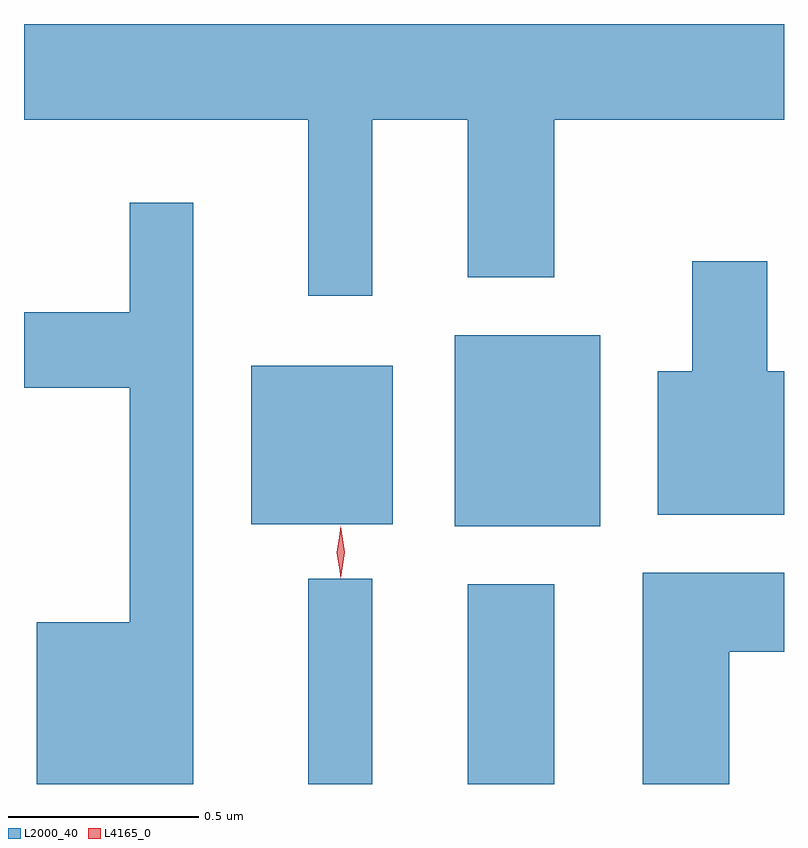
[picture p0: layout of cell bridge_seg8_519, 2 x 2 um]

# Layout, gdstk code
import gdstk
lib = gdstk.Library(unit=1e-6, precision=1e-09)
def R(c, l, rs):  # rectangles x0, y0, x1, y1
    for r in rs: c.add(gdstk.rectangle(r[:2], r[2:], *l))
def P(c, l, *ps):  # polygons
    for p in ps: c.add(gdstk.Polygon(p, *l))
L2000_40 = (2000, 40)
L4165_0 = (4165, 0)

bridge_seg8_519 = lib.new_cell('bridge_seg8_519')
R(bridge_seg8_519, L2000_40, [(322.571,1870.188,322.739,1870.728), (322.991,1870.188,323.219,1870.714), (322.956,1870.866,323.339,1871.369), (322.421,1870.871,322.794,1871.289)])
P(bridge_seg8_519, L2000_40, [(322.739,1871.936),(322.991,1871.936),(322.991,1871.521),(323.219,1871.521),(323.219,1871.936),(323.823,1871.936),(323.823,1872.188),(321.823,1872.188),(321.823,1871.936),(322.571,1871.936),(322.571,1871.473),(322.739,1871.473)],
  [(322.269,1871.718),(322.101,1871.718),(322.101,1871.429),(321.823,1871.429),(321.823,1871.231),(322.101,1871.231),(322.101,1870.614),(321.856,1870.614),(321.856,1870.188),(322.269,1870.188)],
  [(323.823,1871.274),(323.779,1871.274),(323.779,1871.564),(323.581,1871.564),(323.581,1871.274),(323.491,1871.274),(323.491,1870.896),(323.823,1870.896)],
  [(323.679,1870.536),(323.823,1870.536),(323.823,1870.744),(323.451,1870.744),(323.451,1870.188),(323.679,1870.188)])
P(bridge_seg8_519, L4165_0, [(322.656,1870.73),(322.647,1870.798),(322.656,1870.866),(322.657,1870.866),(322.657,1870.866),(322.667,1870.798),(322.657,1870.73),(322.657,1870.73)],
  [(322.656,1870.733),(322.656,1870.733),(322.646,1870.798),(322.656,1870.861),(322.656,1870.862),(322.657,1870.861),(322.666,1870.798),(322.657,1870.733)])

lib.write_gds('bridge_seg8_519.gds')
